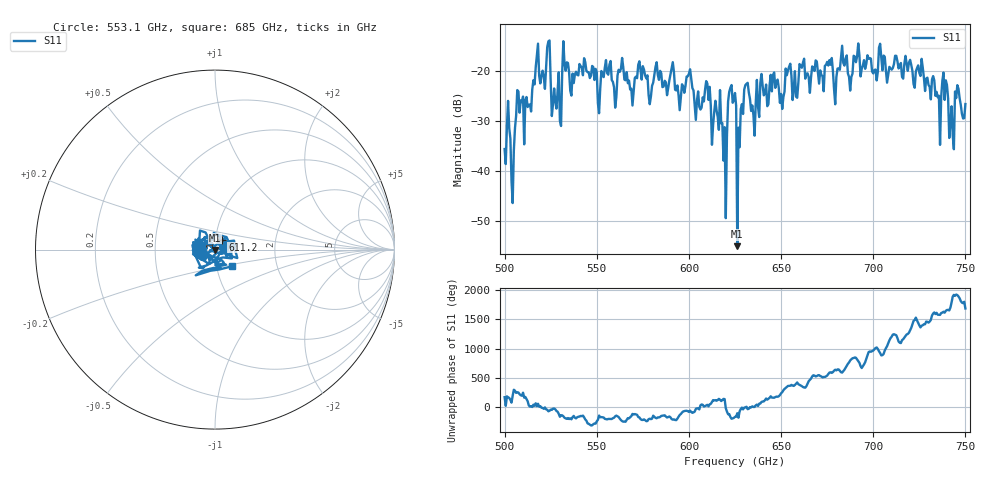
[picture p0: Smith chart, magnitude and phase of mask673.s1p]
!Created with skrf (http://scikit-rf.org).
# GHz S MA R 50.0
!freq magS11 angS11
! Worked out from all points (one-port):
!   401 points, 500 GHz to 750 GHz, reference 50 ohm
!   lowest |S11| = -55.0 dB at 626.2 GHz (marker M1), VSWR 1.00, Z = 50 - j0.176 ohm
!   |S11| at or under -10 dB: start of sweep to end of sweep
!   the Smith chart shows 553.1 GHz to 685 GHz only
!   S11 on the Smith chart (normalised r, x): 553.1 GHz: 0.84, -0.03; 611.2 GHz: 1.08, +0.12; 685 GHz: 1.19, -0.22
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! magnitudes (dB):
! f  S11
! 500 GHz  -35.6
! 504.4 GHz  -46.4
! 507.5 GHz  -24.1
! 511.9 GHz  -25.2
! 516.9 GHz  -19.3
! 523.8 GHz  -14.1
! 526.9 GHz  -23.5
! 531.2 GHz  -20.2
! 533.1 GHz  -19.9
! 553.1 GHz  -20.9
! 562.5 GHz  -20.2
! 593.8 GHz  -22.9
! 611.2 GHz  -23.2
! 619.4 GHz  -31.2
! 622.5 GHz  -23.3
! 625 GHz  -24.4
! 626.2 GHz  -55.0
! 631.2 GHz  -22.6
! 635 GHz  -28.8
! 656.2 GHz  -25.8
! 685 GHz  -17.5
! 687.5 GHz  -23.9
! 718.8 GHz  -20.0
! 735 GHz  -25.3
! 738.8 GHz  -25.8
! 742.5 GHz  -27.0
! 745.6 GHz  -22.8
! 750 GHz  -26.6
